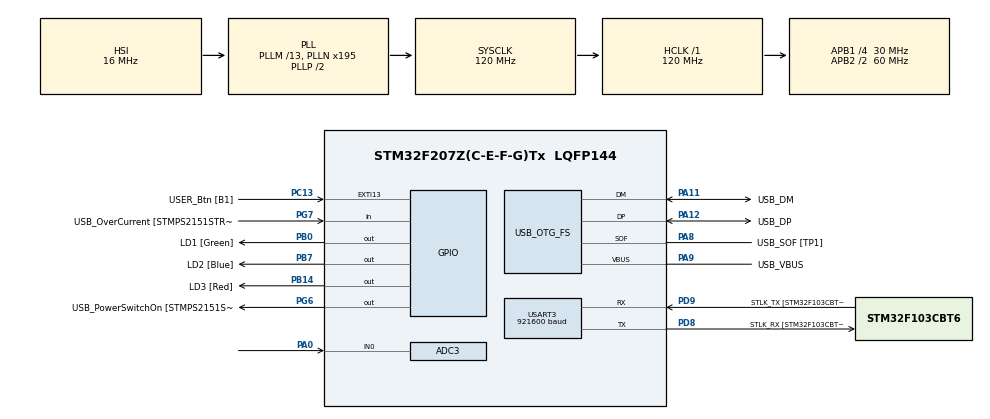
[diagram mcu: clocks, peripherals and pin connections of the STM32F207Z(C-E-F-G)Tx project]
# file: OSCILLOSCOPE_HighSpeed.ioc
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ADC1.Channel-0\#ChannelRegularConversion=ADC_CHANNEL_0
ADC1.DMAContinuousRequests=ENABLE
ADC1.ExternalTrigConv=ADC_EXTERNALTRIGCONV_T2_TRGO
ADC1.Mode=ADC_TRIPLEMODE_INTERL
ADC1.NbrOfConversionFlag=1
ADC1.Rank-0\#ChannelRegularConversion=1
ADC1.Resolution=ADC_RESOLUTION_12B
ADC1.SamplingTime-0\#ChannelRegularConversion=ADC_SAMPLETIME_3CYCLES
ADC1.TwoSamplingDelay=ADC_TWOSAMPLINGDELAY_5CYCLES
ADC1.master=1
ADC2.Channel-1\#ChannelRegularConversion=ADC_CHANNEL_0
ADC2.DMAAccessMode=ADC_DMAACCESSMODE_2
ADC2.Mode=ADC_TRIPLEMODE_INTERL
ADC2.NbrOfConversionFlag=1
ADC2.Rank-1\#ChannelRegularConversion=1
ADC2.SamplingTime-1\#ChannelRegularConversion=ADC_SAMPLETIME_3CYCLES
ADC3.Channel-1\#ChannelRegularConversion=ADC_CHANNEL_0
ADC3.DMAAccessMode=ADC_DMAACCESSMODE_2
ADC3.Mode=ADC_TRIPLEMODE_INTERL
ADC3.NbrOfConversionFlag=1
ADC3.Rank-1\#ChannelRegularConversion=1
ADC3.SamplingTime-1\#ChannelRegularConversion=ADC_SAMPLETIME_3CYCLES
Dma.ADC1.0.Direction=DMA_PERIPH_TO_MEMORY
Dma.ADC1.0.FIFOMode=DMA_FIFOMODE_DISABLE
Dma.ADC1.0.Instance=DMA2_Stream0
Dma.ADC1.0.MemDataAlignment=DMA_MDATAALIGN_WORD
Dma.ADC1.0.MemInc=DMA_MINC_ENABLE
Dma.ADC1.0.Mode=DMA_CIRCULAR
Dma.ADC1.0.PeriphDataAlignment=DMA_PDATAALIGN_WORD
Dma.ADC1.0.PeriphInc=DMA_PINC_DISABLE
Dma.ADC1.0.Priority=DMA_PRIORITY_LOW
Dma.Request0=ADC1
Dma.Request1=USART3_TX
Dma.USART3_TX.1.Direction=DMA_MEMORY_TO_PERIPH
Dma.USART3_TX.1.FIFOMode=DMA_FIFOMODE_DISABLE
Dma.USART3_TX.1.Instance=DMA1_Stream3
Dma.USART3_TX.1.MemDataAlignment=DMA_MDATAALIGN_BYTE
Dma.USART3_TX.1.MemInc=DMA_MINC_ENABLE
Dma.USART3_TX.1.Mode=DMA_NORMAL
Dma.USART3_TX.1.PeriphDataAlignment=DMA_PDATAALIGN_BYTE
Dma.USART3_TX.1.PeriphInc=DMA_PINC_DISABLE
Dma.USART3_TX.1.Priority=DMA_PRIORITY_LOW
Mcu.Family=STM32F2
Mcu.Name=STM32F207Z(C-E-F-G)Tx
Mcu.Package=LQFP144
NVIC.DMA1_Stream3_IRQn=true\:0\:0\:false\:false\:true\:false\:true\:true
NVIC.DMA2_Stream0_IRQn=true\:0\:0\:false\:false\:true\:false\:true\:true
NVIC.PriorityGroup=NVIC_PRIORITYGROUP_4
NVIC.USART3_IRQn=true\:0\:0\:false\:false\:true\:true\:true\:true
PA0-WKUP.Signal=ADCx_IN0
PA1.GPIO_Label=RMII_REF_CLK [LAN8742A-CZ-TR_REFCLK0]
PA1.Signal=ETH_REF_CLK
PA10.GPIO_Label=USB_ID
PA10.Signal=USB_OTG_FS_ID
PA11.GPIO_Label=USB_DM
PA11.Mode=Device_Only
PA11.Signal=USB_OTG_FS_DM
PA12.GPIO_Label=USB_DP
PA12.Mode=Device_Only
PA12.Signal=USB_OTG_FS_DP
PA13.GPIO_Label=TMS
PA13.Mode=Serial_Wire
PA13.Signal=SYS_JTMS-SWDIO
PA14.GPIO_Label=TCK
PA14.Mode=Serial_Wire
PA14.Signal=SYS_JTCK-SWCLK
PA2.GPIO_Label=RMII_MDIO [LAN8742A-CZ-TR_MDIO]
PA2.Signal=ETH_MDIO
PA7.GPIO_Label=RMII_CRS_DV [LAN8742A-CZ-TR_CRS_DV]
PA7.Signal=ETH_CRS_DV
PA8.GPIO_Label=USB_SOF [TP1]
PA8.Mode=Activate_SOF_FS
PA8.Signal=USB_OTG_FS_SOF
PA9.GPIO_Label=USB_VBUS
PA9.Mode=Activate_VBUS
PA9.Signal=USB_OTG_FS_VBUS
PB0.GPIO_Label=LD1 [Green]
PB0.Signal=GPIO_Output
PB13.GPIO_Label=RMII_TXD1 [LAN8742A-CZ-TR_TXD1]
PB13.Signal=ETH_TXD1
PB14.GPIO_Label=LD3 [Red]
PB14.Signal=GPIO_Output
PB3.GPIO_Label=SWO
PB3.Signal=SYS_JTDO-SWO
PB7.GPIO_Label=LD2 [Blue]
PB7.Signal=GPIO_Output
PC1.GPIO_Label=RMII_MDC [LAN8742A-CZ-TR_MDC]
PC1.Signal=ETH_MDC
PC13.GPIO_Label=USER_Btn [B1]
PC13.Signal=GPXTI13
PC14-OSC32_IN.Mode=LSE-External-Oscillator
PC14-OSC32_IN.Signal=RCC_OSC32_IN
PC15-OSC32_OUT.Mode=LSE-External-Oscillator
PC15-OSC32_OUT.Signal=RCC_OSC32_OUT
PC4.GPIO_Label=RMII_RXD0 [LAN8742A-CZ-TR_RXD0]
PC4.Signal=ETH_RXD0
PC5.GPIO_Label=RMII_RXD1 [LAN8742A-CZ-TR_RXD1]
PC5.Signal=ETH_RXD1
PD8.GPIO_Label=STLK_RX [STM32F103CBT6_PA2]
PD8.Mode=Asynchronous
PD8.Signal=USART3_TX
PD9.GPIO_Label=STLK_TX [STM32F103CBT6_PA3]
PD9.Mode=Asynchronous
PD9.Signal=USART3_RX
PG11.GPIO_Label=RMII_TX_EN [LAN8742A-CZ-TR_TXEN]
PG11.Signal=ETH_TX_EN
PG13.GPIO_Label=RMII_TXD0 [LAN8742A-CZ-TR_TXD0]
PG13.Signal=ETH_TXD0
PG6.GPIO_Label=USB_PowerSwitchOn [STMPS2151STR_EN]
PG6.Signal=GPIO_Output
PG7.GPIO_Label=USB_OverCurrent [STMPS2151STR_FAULT]
PG7.Signal=GPIO_Input
PH0-OSC_IN.GPIO_Label=MCO [STM32F103CBT6_PA8]
PH0-OSC_IN.Mode=HSE-External-Clock-Source
PH0-OSC_IN.Signal=RCC_OSC_IN
PH1-OSC_OUT.Mode=HSE-External-Clock-Source
PH1-OSC_OUT.Signal=RCC_OSC_OUT
ProjectManager.HeapSize=0x200
ProjectManager.StackSize=0x400
ProjectManager.TargetToolchain=STM32CubeIDE
RCC.48MHZClocksFreq_Value=48000000
RCC.AHBFreq_Value=120000000
RCC.APB1CLKDivider=RCC_HCLK_DIV4
RCC.APB1Freq_Value=30000000
RCC.APB1TimFreq_Value=60000000
RCC.APB2CLKDivider=RCC_HCLK_DIV2
RCC.APB2Freq_Value=60000000
RCC.APB2TimFreq_Value=120000000
RCC.CortexFreq_Value=120000000
RCC.HCLKFreq_Value=120000000
RCC.HSE_VALUE=8000000
RCC.HSI_VALUE=16000000
RCC.PLLM=13
RCC.PLLMUL=RCC_PLL_MUL9
RCC.PLLN=195
RCC.PLLQ=5
RCC.PRESCALERUSB=RCC_USBCLKSOURCE_PLL_DIV1_5
RCC.SYSCLKFreq_VALUE=120000000
RCC.SYSCLKSource=RCC_SYSCLKSOURCE_PLLCLK
RCC.SYSCLKSourceVirtual=RCC_SYSCLKSOURCE_PLLCLK
RCC.USBFreq_Value=48000000
RCC.VCOOutputFreq_Value=240000000
SH.ADCx_IN0.0=ADC3_IN0,IN0
SH.ADCx_IN0.1=ADC2_IN0,IN0
SH.ADCx_IN0.2=ADC1_IN0,IN0
TIM2.Period=29
TIM2.TIM_MasterOutputTrigger=TIM_TRGO_UPDATE
USART3.BaudRate=921600
USART3.VirtualMode=VM_ASYNC
USB_OTG_FS.VirtualMode=Device_Only
VP_TIM2_VS_ClockSourceINT.Mode=Internal
board=NUCLEO-F207ZG

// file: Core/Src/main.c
/* USER CODE BEGIN Header */
/**
  ******************************************************************************
  * @file           : main.c
  * @brief          : Main program body
  ******************************************************************************
  * @attention
  *
  * Copyright (c) 2026 STMicroelectronics.
  * All rights reserved.
  *
  * This software is licensed under terms that can be found in the LICENSE file
  * in the root directory of this software component.
  * If no LICENSE file comes with this software, it is provided AS-IS.
  *
  ******************************************************************************
  */
/* USER CODE END Header */
#include "main.h"

/* USER CODE BEGIN PD */
#define ADC_BUFFER_SIZE 16384
#define SAMPLES_TOTAL   (ADC_BUFFER_SIZE * 3 / 2)
#define SEND_SAMPLES    4096
#define TRIGGER_LEVEL 	700
#define PRE_TRIGGER 	1024
#define TRIGGER_HYST    20

/* USER CODE END PD */

ADC_HandleTypeDef hadc1;
ADC_HandleTypeDef hadc2;
ADC_HandleTypeDef hadc3;
DMA_HandleTypeDef hdma_adc1;

TIM_HandleTypeDef htim2;

UART_HandleTypeDef huart3;
DMA_HandleTypeDef hdma_usart3_tx;

PCD_HandleTypeDef hpcd_USB_OTG_FS;

/* USER CODE BEGIN PV */

uint32_t adcBuffer[ADC_BUFFER_SIZE];
uint8_t uartBuffer[SEND_SAMPLES * 2 + 2];
uint16_t capture[SEND_SAMPLES];
volatile uint8_t adcReady = 0;
volatile uint8_t adcBlock = 0;
volatile uint8_t uartBusy = 0;

/* USER CODE END PV */

void SystemClock_Config(void);
static void MX_GPIO_Init(void);
static void MX_DMA_Init(void);
static void MX_USART3_UART_Init(void);
static void MX_USB_OTG_FS_PCD_Init(void);
static void MX_ADC1_Init(void);
static void MX_TIM2_Init(void);
static void MX_ADC2_Init(void);
static void MX_ADC3_Init(void);
/* USER CODE BEGIN PFP */

int Find_Trigger(void);
void Send_ADC_Buffer(int trigger);
static inline uint16_t GetSample(const uint32_t *buf, uint32_t sample_idx);

/* USER CODE END PFP */

int main(void)
{

  /* MCU Configuration--------------------------------------------------------*/

  /* Reset of all peripherals, Initializes the Flash interface and the Systick. */
  HAL_Init();

  /* Configure the system clock */
  SystemClock_Config();

  /* Initialize all configured peripherals */
  MX_GPIO_Init();
  MX_DMA_Init();
  MX_USART3_UART_Init();
  MX_USB_OTG_FS_PCD_Init();
  MX_ADC1_Init();
  MX_TIM2_Init();
  MX_ADC2_Init();
  MX_ADC3_Init();
  /* USER CODE BEGIN 2 */
  HAL_ADC_Start(&hadc3);
  HAL_ADC_Start(&hadc2);
  HAL_ADCEx_MultiModeStart_DMA(&hadc1,
                                (uint32_t*)adcBuffer,
                                ADC_BUFFER_SIZE);

  HAL_TIM_Base_Start(&htim2);
  /* USER CODE END 2 */

  /* Infinite loop */
  /* USER CODE BEGIN WHILE */
  while (1)
  {
	  if(adcReady)
	      {
	          adcReady = 0;

	          int trigger;

	          trigger = Find_Trigger();

	          //if(trigger >= 0)
	          {
	              Send_ADC_Buffer(trigger);
	          }

	          static uint32_t led_timer = 0;
	          if(HAL_GetTick() - led_timer >= 500)
	          {
	              led_timer = HAL_GetTick();
	              HAL_GPIO_TogglePin(LD1_GPIO_Port, LD1_Pin);
	          }
	      }
    /* USER CODE END WHILE */

  }
}

void SystemClock_Config(void)
{
  RCC_OscInitTypeDef RCC_OscInitStruct = {0};
  RCC_ClkInitTypeDef RCC_ClkInitStruct = {0};

  /** Initializes the RCC Oscillators according to the specified parameters
  * in the RCC_OscInitTypeDef structure.
  */
  RCC_OscInitStruct.OscillatorType = RCC_OSCILLATORTYPE_HSI;
  RCC_OscInitStruct.HSIState = RCC_HSI_ON;
  RCC_OscInitStruct.HSICalibrationValue = RCC_HSICALIBRATION_DEFAULT;
  RCC_OscInitStruct.PLL.PLLState = RCC_PLL_ON;
  RCC_OscInitStruct.PLL.PLLSource = RCC_PLLSOURCE_HSI;
  RCC_OscInitStruct.PLL.PLLM = 13;
  RCC_OscInitStruct.PLL.PLLN = 195;
  RCC_OscInitStruct.PLL.PLLP = RCC_PLLP_DIV2;
  RCC_OscInitStruct.PLL.PLLQ = 5;
  if (HAL_RCC_OscConfig(&RCC_OscInitStruct) != HAL_OK)
  {
    Error_Handler();
  }

  /** Initializes the CPU, AHB and APB buses clocks
  */
  RCC_ClkInitStruct.ClockType = RCC_CLOCKTYPE_HCLK|RCC_CLOCKTYPE_SYSCLK
                              |RCC_CLOCKTYPE_PCLK1|RCC_CLOCKTYPE_PCLK2;
  RCC_ClkInitStruct.SYSCLKSource = RCC_SYSCLKSOURCE_PLLCLK;
  RCC_ClkInitStruct.AHBCLKDivider = RCC_SYSCLK_DIV1;
  RCC_ClkInitStruct.APB1CLKDivider = RCC_HCLK_DIV4;
  RCC_ClkInitStruct.APB2CLKDivider = RCC_HCLK_DIV2;

  if (HAL_RCC_ClockConfig(&RCC_ClkInitStruct, FLASH_LATENCY_3) != HAL_OK)
  {
    Error_Handler();
  }
}

static void MX_ADC1_Init(void)
{

  ADC_MultiModeTypeDef multimode = {0};
  ADC_ChannelConfTypeDef sConfig = {0};

  /** Configure the global features of the ADC (Clock, Resolution, Data Alignment and number of conversion)
  */
  hadc1.Instance = ADC1;
  hadc1.Init.ClockPrescaler = ADC_CLOCK_SYNC_PCLK_DIV2;
  hadc1.Init.Resolution = ADC_RESOLUTION_12B;
  hadc1.Init.ScanConvMode = DISABLE;
  hadc1.Init.ContinuousConvMode = DISABLE;
  hadc1.Init.DiscontinuousConvMode = DISABLE;
  hadc1.Init.ExternalTrigConvEdge = ADC_EXTERNALTRIGCONVEDGE_RISING;
  hadc1.Init.ExternalTrigConv = ADC_EXTERNALTRIGCONV_T2_TRGO;
  hadc1.Init.DataAlign = ADC_DATAALIGN_RIGHT;
  hadc1.Init.NbrOfConversion = 1;
  hadc1.Init.DMAContinuousRequests = ENABLE;
  hadc1.Init.EOCSelection = ADC_EOC_SINGLE_CONV;
  if (HAL_ADC_Init(&hadc1) != HAL_OK)
  {
    Error_Handler();
  }

  /** Configure the ADC multi-mode
  */
  multimode.Mode = ADC_TRIPLEMODE_INTERL;
  multimode.DMAAccessMode = ADC_DMAACCESSMODE_2;
  multimode.TwoSamplingDelay = ADC_TWOSAMPLINGDELAY_5CYCLES;
  if (HAL_ADCEx_MultiModeConfigChannel(&hadc1, &multimode) != HAL_OK)
  {
    Error_Handler();
  }

  /** Configure for the selected ADC regular channel its corresponding rank in the sequencer and its sample time.
  */
  sConfig.Channel = ADC_CHANNEL_0;
  sConfig.Rank = 1;
  sConfig.SamplingTime = ADC_SAMPLETIME_3CYCLES;
  if (HAL_ADC_ConfigChannel(&hadc1, &sConfig) != HAL_OK)
  {
    Error_Handler();
  }

}

static void MX_ADC2_Init(void)
{

  ADC_ChannelConfTypeDef sConfig = {0};

  /** Configure the global features of the ADC (Clock, Resolution, Data Alignment and number of conversion)
  */
  hadc2.Instance = ADC2;
  hadc2.Init.ClockPrescaler = ADC_CLOCK_SYNC_PCLK_DIV2;
  hadc2.Init.Resolution = ADC_RESOLUTION_12B;
  hadc2.Init.ScanConvMode = DISABLE;
  hadc2.Init.ContinuousConvMode = DISABLE;
  hadc2.Init.DiscontinuousConvMode = DISABLE;
  hadc2.Init.DataAlign = ADC_DATAALIGN_RIGHT;
  hadc2.Init.NbrOfConversion = 1;
  hadc2.Init.DMAContinuousRequests = DISABLE;
  hadc2.Init.EOCSelection = ADC_EOC_SINGLE_CONV;
  if (HAL_ADC_Init(&hadc2) != HAL_OK)
  {
    Error_Handler();
  }

  /** Configure for the selected ADC regular channel its corresponding rank in the sequencer and its sample time.
  */
  sConfig.Channel = ADC_CHANNEL_0;
  sConfig.Rank = 1;
  sConfig.SamplingTime = ADC_SAMPLETIME_3CYCLES;
  if (HAL_ADC_ConfigChannel(&hadc2, &sConfig) != HAL_OK)
  {
    Error_Handler();
  }

}

static void MX_ADC3_Init(void)
{

  ADC_ChannelConfTypeDef sConfig = {0};

  /** Configure the global features of the ADC (Clock, Resolution, Data Alignment and number of conversion)
  */
  hadc3.Instance = ADC3;
  hadc3.Init.ClockPrescaler = ADC_CLOCK_SYNC_PCLK_DIV2;
  hadc3.Init.Resolution = ADC_RESOLUTION_12B;
  hadc3.Init.ScanConvMode = DISABLE;
  hadc3.Init.ContinuousConvMode = DISABLE;
  hadc3.Init.DiscontinuousConvMode = DISABLE;
  hadc3.Init.DataAlign = ADC_DATAALIGN_RIGHT;
  hadc3.Init.NbrOfConversion = 1;
  hadc3.Init.DMAContinuousRequests = DISABLE;
  hadc3.Init.EOCSelection = ADC_EOC_SINGLE_CONV;
  if (HAL_ADC_Init(&hadc3) != HAL_OK)
  {
    Error_Handler();
  }

  /** Configure for the selected ADC regular channel its corresponding rank in the sequencer and its sample time.
  */
  sConfig.Channel = ADC_CHANNEL_0;
  sConfig.Rank = 1;
  sConfig.SamplingTime = ADC_SAMPLETIME_3CYCLES;
  if (HAL_ADC_ConfigChannel(&hadc3, &sConfig) != HAL_OK)
  {
    Error_Handler();
  }

}

static void MX_TIM2_Init(void)
{

  TIM_ClockConfigTypeDef sClockSourceConfig = {0};
  TIM_MasterConfigTypeDef sMasterConfig = {0};

  htim2.Instance = TIM2;
  htim2.Init.Prescaler = 0;
  htim2.Init.CounterMode = TIM_COUNTERMODE_UP;
  htim2.Init.Period = 29;
  htim2.Init.ClockDivision = TIM_CLOCKDIVISION_DIV1;
  htim2.Init.AutoReloadPreload = TIM_AUTORELOAD_PRELOAD_DISABLE;
  if (HAL_TIM_Base_Init(&htim2) != HAL_OK)
  {
    Error_Handler();
  }
  sClockSourceConfig.ClockSource = TIM_CLOCKSOURCE_INTERNAL;
  if (HAL_TIM_ConfigClockSource(&htim2, &sClockSourceConfig) != HAL_OK)
  {
    Error_Handler();
  }
  sMasterConfig.MasterOutputTrigger = TIM_TRGO_UPDATE;
  sMasterConfig.MasterSlaveMode = TIM_MASTERSLAVEMODE_DISABLE;
  if (HAL_TIMEx_MasterConfigSynchronization(&htim2, &sMasterConfig) != HAL_OK)
  {
    Error_Handler();
  }

}

static void MX_USART3_UART_Init(void)
{

  huart3.Instance = USART3;
  huart3.Init.BaudRate = 921600;
  huart3.Init.WordLength = UART_WORDLENGTH_8B;
  huart3.Init.StopBits = UART_STOPBITS_1;
  huart3.Init.Parity = UART_PARITY_NONE;
  huart3.Init.Mode = UART_MODE_TX_RX;
  huart3.Init.HwFlowCtl = UART_HWCONTROL_NONE;
  huart3.Init.OverSampling = UART_OVERSAMPLING_16;
  if (HAL_UART_Init(&huart3) != HAL_OK)
  {
    Error_Handler();
  }

}

static void MX_USB_OTG_FS_PCD_Init(void)
{

  hpcd_USB_OTG_FS.Instance = USB_OTG_FS;
  hpcd_USB_OTG_FS.Init.dev_endpoints = 4;
  hpcd_USB_OTG_FS.Init.speed = PCD_SPEED_FULL;
  hpcd_USB_OTG_FS.Init.dma_enable = DISABLE;
  hpcd_USB_OTG_FS.Init.phy_itface = PCD_PHY_EMBEDDED;
  hpcd_USB_OTG_FS.Init.Sof_enable = ENABLE;
  hpcd_USB_OTG_FS.Init.low_power_enable = DISABLE;
  hpcd_USB_OTG_FS.Init.vbus_sensing_enable = ENABLE;
  hpcd_USB_OTG_FS.Init.use_dedicated_ep1 = DISABLE;
  if (HAL_PCD_Init(&hpcd_USB_OTG_FS) != HAL_OK)
  {
    Error_Handler();
  }

}

static void MX_DMA_Init(void)
{

  /* DMA controller clock enable */
  __HAL_RCC_DMA2_CLK_ENABLE();
  __HAL_RCC_DMA1_CLK_ENABLE();

  /* DMA interrupt init */
  /* DMA1_Stream3_IRQn interrupt configuration */
  HAL_NVIC_SetPriority(DMA1_Stream3_IRQn, 0, 0);
  HAL_NVIC_EnableIRQ(DMA1_Stream3_IRQn);
  /* DMA2_Stream0_IRQn interrupt configuration */
  HAL_NVIC_SetPriority(DMA2_Stream0_IRQn, 0, 0);
  HAL_NVIC_EnableIRQ(DMA2_Stream0_IRQn);

}

static void MX_GPIO_Init(void)
{
  GPIO_InitTypeDef GPIO_InitStruct = {0};

  /* GPIO Ports Clock Enable */
  __HAL_RCC_GPIOC_CLK_ENABLE();
  __HAL_RCC_GPIOH_CLK_ENABLE();
  __HAL_RCC_GPIOA_CLK_ENABLE();
  __HAL_RCC_GPIOB_CLK_ENABLE();
  __HAL_RCC_GPIOD_CLK_ENABLE();
  __HAL_RCC_GPIOG_CLK_ENABLE();

  /*Configure GPIO pin Output Level */
  HAL_GPIO_WritePin(GPIOB, LD1_Pin|LD3_Pin|LD2_Pin, GPIO_PIN_RESET);

  /*Configure GPIO pin Output Level */
  HAL_GPIO_WritePin(USB_PowerSwitchOn_GPIO_Port, USB_PowerSwitchOn_Pin, GPIO_PIN_RESET);

  /*Configure GPIO pin : USER_Btn_Pin */
  GPIO_InitStruct.Pin = USER_Btn_Pin;
  GPIO_InitStruct.Mode = GPIO_MODE_IT_RISING;
  GPIO_InitStruct.Pull = GPIO_NOPULL;
  HAL_GPIO_Init(USER_Btn_GPIO_Port, &GPIO_InitStruct);

  /*Configure GPIO pins : RMII_MDC_Pin RMII_RXD0_Pin RMII_RXD1_Pin */
  GPIO_InitStruct.Pin = RMII_MDC_Pin|RMII_RXD0_Pin|RMII_RXD1_Pin;
  GPIO_InitStruct.Mode = GPIO_MODE_AF_PP;
  GPIO_InitStruct.Pull = GPIO_NOPULL;
  GPIO_InitStruct.Speed = GPIO_SPEED_FREQ_VERY_HIGH;
  GPIO_InitStruct.Alternate = GPIO_AF11_ETH;
  HAL_GPIO_Init(GPIOC, &GPIO_InitStruct);

  /*Configure GPIO pins : RMII_REF_CLK_Pin RMII_MDIO_Pin RMII_CRS_DV_Pin */
  GPIO_InitStruct.Pin = RMII_REF_CLK_Pin|RMII_MDIO_Pin|RMII_CRS_DV_Pin;
  GPIO_InitStruct.Mode = GPIO_MODE_AF_PP;
  GPIO_InitStruct.Pull = GPIO_NOPULL;
  GPIO_InitStruct.Speed = GPIO_SPEED_FREQ_VERY_HIGH;
  GPIO_InitStruct.Alternate = GPIO_AF11_ETH;
  HAL_GPIO_Init(GPIOA, &GPIO_InitStruct);

  /*Configure GPIO pins : LD1_Pin LD3_Pin LD2_Pin */
  GPIO_InitStruct.Pin = LD1_Pin|LD3_Pin|LD2_Pin;
  GPIO_InitStruct.Mode = GPIO_MODE_OUTPUT_PP;
  GPIO_InitStruct.Pull = GPIO_NOPULL;
  GPIO_InitStruct.Speed = GPIO_SPEED_FREQ_LOW;
  HAL_GPIO_Init(GPIOB, &GPIO_InitStruct);

  /*Configure GPIO pin : RMII_TXD1_Pin */
  GPIO_InitStruct.Pin = RMII_TXD1_Pin;
  GPIO_InitStruct.Mode = GPIO_MODE_AF_PP;
  GPIO_InitStruct.Pull = GPIO_NOPULL;
  GPIO_InitStruct.Speed = GPIO_SPEED_FREQ_VERY_HIGH;
  GPIO_InitStruct.Alternate = GPIO_AF11_ETH;
  HAL_GPIO_Init(RMII_TXD1_GPIO_Port, &GPIO_InitStruct);

  /*Configure GPIO pin : USB_PowerSwitchOn_Pin */
  GPIO_InitStruct.Pin = USB_PowerSwitchOn_Pin;
  GPIO_InitStruct.Mode = GPIO_MODE_OUTPUT_PP;
  GPIO_InitStruct.Pull = GPIO_NOPULL;
  GPIO_InitStruct.Speed = GPIO_SPEED_FREQ_LOW;
  HAL_GPIO_Init(USB_PowerSwitchOn_GPIO_Port, &GPIO_InitStruct);

  /*Configure GPIO pin : USB_OverCurrent_Pin */
  GPIO_InitStruct.Pin = USB_OverCurrent_Pin;
  GPIO_InitStruct.Mode = GPIO_MODE_INPUT;
  GPIO_InitStruct.Pull = GPIO_NOPULL;
  HAL_GPIO_Init(USB_OverCurrent_GPIO_Port, &GPIO_InitStruct);

  /*Configure GPIO pins : RMII_TX_EN_Pin RMII_TXD0_Pin */
  GPIO_InitStruct.Pin = RMII_TX_EN_Pin|RMII_TXD0_Pin;
  GPIO_InitStruct.Mode = GPIO_MODE_AF_PP;
  GPIO_InitStruct.Pull = GPIO_NOPULL;
  GPIO_InitStruct.Speed = GPIO_SPEED_FREQ_VERY_HIGH;
  GPIO_InitStruct.Alternate = GPIO_AF11_ETH;
  HAL_GPIO_Init(GPIOG, &GPIO_InitStruct);

}

/* USER CODE BEGIN 4 */
static inline uint16_t GetSample(const uint32_t *buf, uint32_t sample_idx)
{
    const uint16_t *hw = (const uint16_t *)buf;
    return hw[sample_idx];
}

int Find_Trigger(void)
{
    uint32_t half_samples = SAMPLES_TOTAL / 2;
    uint32_t half_start   = (adcBlock == 0) ? 0 : half_samples;
    uint32_t search_end   = half_samples - (SEND_SAMPLES - PRE_TRIGGER);

    static uint8_t armed = 1;

    for (uint32_t i = PRE_TRIGGER + 1; i < search_end; i++)
    {
        uint32_t index = half_start + i;

        uint16_t prev   = GetSample(adcBuffer, index - 1);
        uint16_t sample = GetSample(adcBuffer, index);

        if (!armed)
        {
            if (sample < (TRIGGER_LEVEL - TRIGGER_HYST))
                armed = 1;
        }
        else
        {
            if (prev < TRIGGER_LEVEL &&
                sample >= TRIGGER_LEVEL)
            {
                armed = 0;
                return (int)index;
            }
        }
    }

    return -1;
}

void Send_ADC_Buffer(int trigger)
{
    if (uartBusy)
    {
        return;
    }

    int32_t start = trigger - PRE_TRIGGER;

    if (start < 0)
        start += SAMPLES_TOTAL;

    for (int i = 0; i < SEND_SAMPLES; i++)
    {
        uint32_t index = (uint32_t)start + i;

        while (index >= SAMPLES_TOTAL)
        {
            index -= SAMPLES_TOTAL;
        }

        capture[i] = GetSample(adcBuffer, index);
    }

    uartBuffer[0] = 0xAA;
    uartBuffer[1] = 0x55;

    for (int i = 0; i < SEND_SAMPLES; i++)
    {
        uartBuffer[2 + i * 2] = capture[i] & 0xff;
        uartBuffer[3 + i * 2] = capture[i] >> 8;
    }

    uartBusy = 1;
    if (HAL_UART_Transmit_DMA(&huart3, uartBuffer, SEND_SAMPLES * 2 + 2) != HAL_OK)
    {
        uartBusy = 0;
    }
}

void HAL_ADC_ConvHalfCpltCallback(ADC_HandleTypeDef *hadc)
{
    if (hadc->Instance == ADC1)
    {
        adcBlock = 0;
        adcReady = 1;
    }
}

void HAL_ADC_ConvCpltCallback(ADC_HandleTypeDef *hadc)
{
    if (hadc->Instance == ADC1)
    {
        adcBlock = 1;
        adcReady = 1;
    }
}

void HAL_UART_TxCpltCallback(UART_HandleTypeDef *huart)
{
    if (huart->Instance == USART3)
    {
        uartBusy = 0;
    }
}
/* USER CODE END 4 */

void Error_Handler(void)
{
  /* USER CODE BEGIN Error_Handler_Debug */
	HAL_GPIO_WritePin(LD3_GPIO_Port,
	                      LD3_Pin,
	                      GPIO_PIN_SET);
  /* User can add his own implementation to report the HAL error return state */
  __disable_irq();
  while (1)
  {
  }
  /* USER CODE END Error_Handler_Debug */
}
